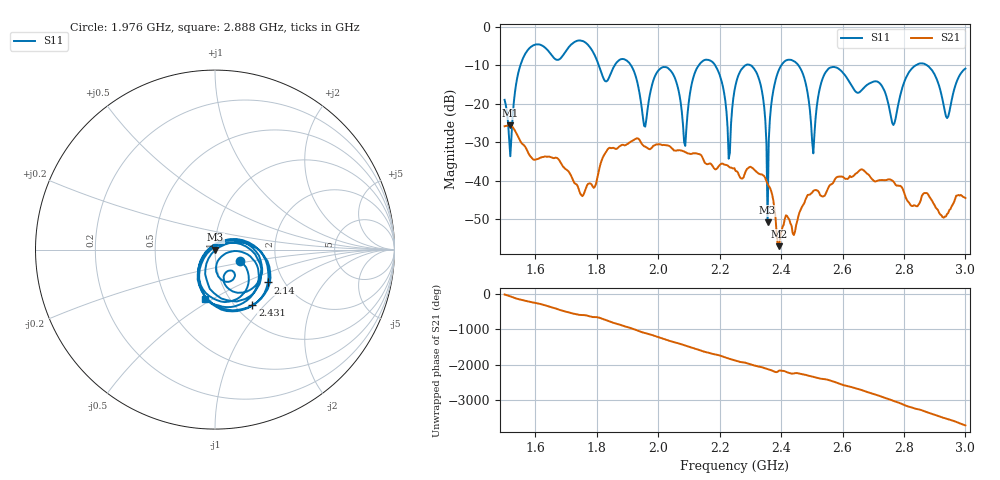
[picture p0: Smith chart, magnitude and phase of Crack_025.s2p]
# HZ S RI R 50
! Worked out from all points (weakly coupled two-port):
!   404 points, 1.5 GHz to 3 GHz, reference 50 ohm
!   highest |S21| = -25.58 dB at 1.519 GHz (marker M1); lowest = -57.1 dB at 2.393 GHz (marker M2)
!   lowest |S11| = -50.9 dB at 2.356 GHz (marker M3), VSWR 1.01, Z = 50.3 - j0.0982 ohm
!   |S11| at or under -10 dB: 1.911 GHz to 2.132 GHz (220.4 MHz wide, 10.9 % of centre); 2.457 GHz to 2.838 GHz (381.3 MHz wide, 14.4 % of centre); 2.875 GHz to end of sweep (the widest 3 of 7)
!   S12 and S22 are empty: the file has one direction only
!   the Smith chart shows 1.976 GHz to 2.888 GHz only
!   S11 on the Smith chart (normalised r, x): 1.976 GHz: 1.31, -0.17; 2.14 GHz: 1.66, -0.69; 2.431 GHz: 1.19, -0.86; 2.888 GHz: 0.78, -0.47
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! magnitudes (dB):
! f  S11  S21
! 1.5 GHz  -19.0  -25.8
! 1.519 GHz  -33.7  -25.6
! 1.574 GHz  -6.1  -32.4
! 1.753 GHz  -3.6  -44.1
! 1.954 GHz  -25.8  -31.1
! 1.976 GHz  -16.3  -31.6
! 2.002 GHz  -11.1  -30.5
! 2.088 GHz  -31.0  -32.6
! 2.14 GHz  -9.2  -33.4
! 2.196 GHz  -11.6  -36.4
! 2.23 GHz  -34.3  -36.3
! 2.252 GHz  -15.1  -37.5
! 2.319 GHz  -11.7  -37.6
! 2.356 GHz  -50.9  -40.9
! 2.393 GHz  -11.1  -57.1
! 2.431 GHz  -8.5  -51.2
! 2.501 GHz  -29.9  -43.1
! 2.565 GHz  -10.5  -40.9
! 2.751 GHz  -20.5  -39.7
! 2.888 GHz  -11.0  -44.9
! 2.94 GHz  -23.7  -48.7
! 3 GHz  -10.8  -44.6
